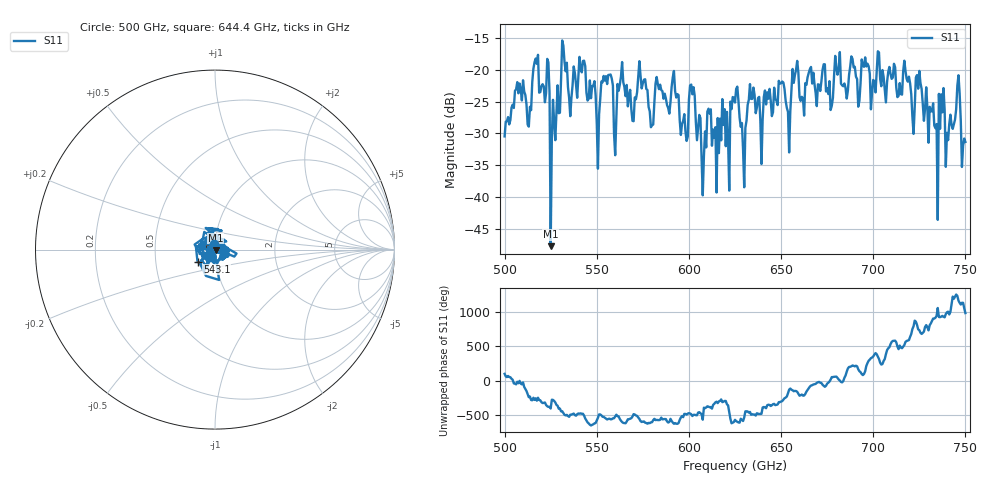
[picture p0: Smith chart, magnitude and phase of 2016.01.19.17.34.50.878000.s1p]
!Created with skrf (http://scikit-rf.org).
# GHz S RI R 50.0
!freq ReS11 ImS11
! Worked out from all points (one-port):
!   401 points, 500 GHz to 750 GHz, reference 50 ohm
!   lowest |S11| = -47.8 dB at 525 GHz (marker M1), VSWR 1.01, Z = 50.3 - j0.28 ohm
!   |S11| at or under -10 dB: start of sweep to end of sweep
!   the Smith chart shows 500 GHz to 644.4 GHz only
!   S11 on the Smith chart (normalised r, x): 500 GHz: 0.99, +0.06; 543.1 GHz: 0.82, -0.11; 644.4 GHz: 1.12, -0.02
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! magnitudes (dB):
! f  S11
! 500 GHz  -30.5
! 506.9 GHz  -21.9
! 513.1 GHz  -28.9
! 516.9 GHz  -18.2
! 523.1 GHz  -18.3
! 525 GHz  -47.8
! 526.2 GHz  -24.7
! 531.2 GHz  -15.4
! 543.1 GHz  -18.6
! 550.6 GHz  -35.6
! 560.6 GHz  -27.5
! 562.5 GHz  -22.3
! 593.8 GHz  -23.8
! 598.1 GHz  -29.7
! 601.9 GHz  -23.8
! 608.1 GHz  -33.7
! 610.6 GHz  -26.1
! 620.6 GHz  -26.6
! 625 GHz  -25.1
! 629.4 GHz  -32.5
! 633.8 GHz  -24.6
! 644.4 GHz  -24.8
! 656.2 GHz  -19.9
! 687.5 GHz  -19.5
! 718.8 GHz  -21.9
! 733.8 GHz  -29.2
! 746.2 GHz  -20.8
! 750 GHz  -31.4
